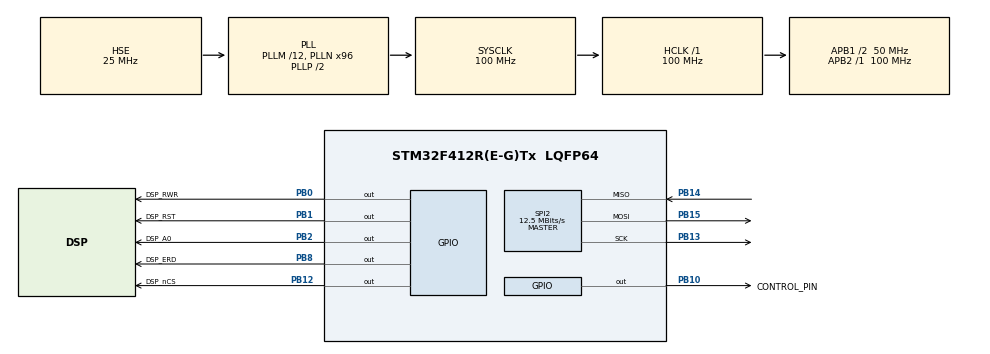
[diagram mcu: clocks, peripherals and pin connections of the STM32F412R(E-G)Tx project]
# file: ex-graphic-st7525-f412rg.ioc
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Mcu.Family=STM32F4
Mcu.Name=STM32F412R(E-G)Tx
Mcu.Package=LQFP64
NVIC.PriorityGroup=NVIC_PRIORITYGROUP_4
PA13.Mode=Serial_Wire
PA13.Signal=SYS_JTMS-SWDIO
PA14.Mode=Serial_Wire
PA14.Signal=SYS_JTCK-SWCLK
PB0.GPIO_Label=DSP_RWR
PB0.PinState=GPIO_PIN_SET
PB0.Signal=GPIO_Output
PB1.GPIO_Label=DSP_RST
PB1.GPIO_Speed=GPIO_SPEED_FREQ_VERY_HIGH
PB1.PinState=GPIO_PIN_RESET
PB1.Signal=GPIO_Output
PB10.GPIO_Label=CONTROL_PIN
PB10.PinState=GPIO_PIN_SET
PB10.Signal=GPIO_Output
PB12.GPIO_Label=DSP_nCS
PB12.GPIO_Speed=GPIO_SPEED_FREQ_VERY_HIGH
PB12.PinState=GPIO_PIN_SET
PB12.Signal=GPIO_Output
PB13.Mode=Full_Duplex_Master
PB13.Signal=SPI2_SCK
PB14.Mode=Full_Duplex_Master
PB14.Signal=SPI2_MISO
PB15.Mode=Full_Duplex_Master
PB15.Signal=SPI2_MOSI
PB2.GPIO_Label=DSP_A0
PB2.GPIO_Speed=GPIO_SPEED_FREQ_VERY_HIGH
PB2.PinState=GPIO_PIN_SET
PB2.Signal=GPIO_Output
PB8.GPIO_Label=DSP_ERD
PB8.PinState=GPIO_PIN_SET
PB8.Signal=GPIO_Output
PH0\ -\ OSC_IN.Mode=HSE-External-Oscillator
PH0\ -\ OSC_IN.Signal=RCC_OSC_IN
PH1\ -\ OSC_OUT.Mode=HSE-External-Oscillator
PH1\ -\ OSC_OUT.Signal=RCC_OSC_OUT
ProjectManager.HeapSize=0x200
ProjectManager.StackSize=0x400
ProjectManager.TargetToolchain=STM32CubeIDE
RCC.AHBFreq_Value=100000000
RCC.APB1CLKDivider=RCC_HCLK_DIV2
RCC.APB1Freq_Value=50000000
RCC.APB1TimFreq_Value=100000000
RCC.APB2Freq_Value=100000000
RCC.APB2TimFreq_Value=100000000
RCC.CortexFreq_Value=100000000
RCC.HCLKFreq_Value=100000000
RCC.PLLM=12
RCC.PLLN=96
RCC.PLLSourceVirtual=RCC_PLLSOURCE_HSE
RCC.SYSCLKFreq_VALUE=100000000
RCC.SYSCLKSource=RCC_SYSCLKSOURCE_PLLCLK
RCC.USBFreq_Value=100000000
RCC.VCOOutputFreq_Value=200000000
SPI2.BaudRatePrescaler=SPI_BAUDRATEPRESCALER_4
SPI2.CLKPhase=SPI_PHASE_2EDGE
SPI2.CLKPolarity=SPI_POLARITY_HIGH
SPI2.CalculateBaudRate=12.5 MBits/s
SPI2.Direction=SPI_DIRECTION_2LINES
SPI2.Mode=SPI_MODE_MASTER
SPI2.VirtualType=VM_MASTER
board=custom

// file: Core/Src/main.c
/* USER CODE BEGIN Header */
/**
  ******************************************************************************
  * @file           : main.c
  * @brief          : Main program body
  ******************************************************************************
  * @attention
  *
  * Copyright (c) 2024 STMicroelectronics.
  * All rights reserved.
  *
  * This software is licensed under terms that can be found in the LICENSE file
  * in the root directory of this software component.
  * If no LICENSE file comes with this software, it is provided AS-IS.
  *
  ******************************************************************************
  */
/* USER CODE END Header */
#include "main.h"
#include "spi.h"
#include "gpio.h"

/* USER CODE BEGIN Includes */
#include <stdbool.h>
#include <stddef.h>

#include "GraphicDisplay.h"
#include "GraphicDisplay_Fonts.h"
#include "drivers/st7525/st7525.h"
/* USER CODE END Includes */

/* USER CODE BEGIN PV */
st7525_t St7525 = {0};
gd_t Graphic = {0};

#define cobra_width 	 64
#define cobra_height 	 64
const unsigned char cobra_bmp [] ={
		0x00,0x00,0x00,0xb4,0x00,0x00,0x00,0x00,0x00,0x00,0x00,0xef,0x03,0x00,0x00,0x00,
		0x00,0x00,0xc0,0x00,0x06,0x00,0x00,0x00,0x00,0x00,0x60,0x00,0x18,0x00,0x00,0x00,
		0x00,0x00,0x30,0x0e,0x30,0x00,0x00,0x00,0x00,0x00,0x98,0x1b,0x70,0x00,0x00,0x00,
		0x00,0x00,0x88,0x30,0xd0,0x00,0x00,0x00,0x00,0x00,0x84,0x68,0x90,0x01,0x00,0x00,
		0x00,0x00,0xc6,0xdc,0x30,0x03,0x00,0x00,0x00,0x00,0x82,0x87,0x21,0x06,0x00,0x00,
		0x00,0x00,0x02,0x03,0xc3,0x0c,0x00,0x00,0x00,0x00,0x03,0x01,0x86,0x3f,0x00,0x00,
		0x00,0x00,0x81,0x01,0x0c,0xe0,0x00,0x00,0x00,0x00,0x81,0x00,0x18,0x80,0x03,0x00,
		0x00,0x00,0x83,0x00,0x70,0x00,0x06,0x00,0x00,0x00,0x8f,0x00,0x40,0x00,0x04,0x00,
		0x00,0x00,0x99,0x00,0xc0,0x01,0x0c,0x00,0x00,0x00,0x91,0x00,0x00,0x03,0x04,0x00,
		0x00,0x00,0xb1,0x01,0x00,0x06,0x04,0x00,0x00,0x00,0x93,0x00,0x00,0x0c,0x0c,0x00,
		0x00,0x00,0x11,0x01,0x00,0x08,0x04,0x00,0x00,0x00,0x1a,0x03,0x00,0x18,0x08,0x00,
		0x00,0x00,0x0e,0x06,0x00,0x10,0x08,0x00,0x00,0x00,0x06,0x06,0x00,0x30,0x08,0x00,
		0x00,0x00,0x04,0x1b,0x00,0x60,0x0c,0x00,0x00,0x00,0x0c,0x32,0x00,0xc0,0x07,0x00,
		0x00,0x00,0x18,0x63,0x00,0x80,0x04,0x00,0x00,0x00,0x30,0xc6,0x00,0x00,0x0c,0x00,
		0x00,0x00,0x60,0xcc,0x01,0x00,0x08,0x00,0x00,0x00,0xc0,0x78,0x03,0x00,0x38,0x00,
		0x00,0x00,0x80,0x01,0x06,0x00,0x68,0x00,0x00,0x00,0x00,0x03,0x1c,0x00,0x0c,0x00,
		0x00,0x00,0x20,0x06,0x18,0x00,0x00,0x00,0x00,0x00,0xfe,0xff,0xff,0x7f,0x00,0x00,
		0x00,0x00,0x03,0x20,0x08,0xc0,0x00,0x00,0x00,0x00,0x01,0x60,0x0c,0x80,0x00,0x00,
		0x00,0x80,0x01,0xc0,0x07,0x80,0x01,0x00,0x00,0x80,0x00,0x80,0x02,0x00,0x01,0x00,
		0x00,0x00,0x01,0x00,0x00,0x80,0x00,0x00,0x00,0x00,0x03,0x00,0x00,0xc0,0x00,0x00,
		0x00,0xe0,0xff,0xff,0xff,0xff,0x07,0x00,0x00,0x38,0x49,0xb2,0x2c,0x49,0x1a,0x00,
		0x00,0x08,0x00,0x60,0x08,0x00,0x10,0x00,0x00,0x0c,0x00,0x40,0x0e,0x00,0x30,0x00,
		0x00,0x04,0xf0,0xc0,0x03,0x1e,0x20,0x00,0x00,0x08,0x98,0x01,0x00,0x33,0x30,0x00,
		0x00,0x08,0x0c,0x01,0x00,0x61,0x10,0x00,0x00,0xba,0x4c,0x2b,0xd5,0x65,0x5e,0x00,
		0x80,0xff,0xff,0xff,0xff,0xff,0xff,0x01,0xc0,0x00,0x00,0x20,0x08,0x00,0x00,0x03,
		0x40,0x00,0x00,0x60,0x0c,0x00,0x00,0x02,0x60,0x00,0x14,0xc0,0x07,0x50,0x00,0x06,
		0x20,0x00,0x3e,0x00,0x01,0xf8,0x00,0x04,0x40,0x00,0x63,0x00,0x00,0x8c,0x01,0x02,
		0xc0,0x00,0x41,0x00,0x00,0x04,0x01,0x03,0xf8,0xff,0xff,0xff,0xff,0xff,0xff,0x1f,
		0x0e,0x82,0x20,0x28,0x89,0x20,0x08,0x72,0x02,0x00,0x00,0x60,0x0c,0x00,0x00,0x40,
		0x03,0x40,0x00,0x40,0x06,0x00,0x02,0xc0,0x02,0xf0,0x01,0xc0,0x03,0x80,0x0f,0x80,
		0x03,0x18,0x03,0x00,0x00,0xc0,0x18,0x40,0x02,0x08,0x02,0x00,0x00,0x40,0x10,0x60,
		0xae,0x5a,0x57,0x55,0xb5,0xea,0x5e,0x35,0xf8,0xff,0xff,0xff,0xff,0xff,0xff,0x1f};
/* USER CODE END PV */

void SystemClock_Config(void);

/* USER CODE BEGIN 0 */

/* Specific MCU functions to work with ST7525 */

void _dsp_a0(uint8_t s){
	HAL_GPIO_WritePin(DSP_A0_GPIO_Port, DSP_A0_Pin, s);
}

void _dsp_cs(uint8_t s){
	HAL_GPIO_WritePin(DSP_nCS_GPIO_Port, DSP_nCS_Pin, s);
}

void _dsp_reset(uint8_t s){
	HAL_GPIO_WritePin(DSP_RST_GPIO_Port, DSP_RST_Pin, s);
}

uint8_t _dsp_write(uint8_t *data, uint32_t len){
	HAL_StatusTypeDef e;

	e = HAL_SPI_Transmit(&hspi2, data, len, 100);

	return (uint8_t)e;
}

/* USER CODE END 0 */

int main(void)
{

  /* USER CODE BEGIN 1 */
	st7525_params_t St7525_Params = {
			.Mode = ST7525_MODE_SPI,
			.eFrameRate = ST7525_FR_76fps,
			.bUseExternalFrameBuffer = false,
			.bInvertY = true,
			.bInvertX = false,
			.u32Heigth = 64,
			.u32Width = 192,
			.u32Offset = 0,
			.delayMs = HAL_Delay,
			.spiA0 = _dsp_a0,
			.spiCS = _dsp_cs,
			.spiReset = _dsp_reset,
			.spiWrite = _dsp_write
	};

	gd_params_t Graphic_Params = {
			.DisplayDriver = Gd_Driver_ST7525,
			.DisplayHandle = (void*)(&St7525),
			.u32Height = 64,
			.u32Width = 192
	};
  /* USER CODE END 1 */

  /* MCU Configuration--------------------------------------------------------*/

  /* Reset of all peripherals, Initializes the Flash interface and the Systick. */
  HAL_Init();

  /* Configure the system clock */
  SystemClock_Config();

  /* Initialize all configured peripherals */
  MX_GPIO_Init();
  MX_SPI2_Init();
  /* USER CODE BEGIN 2 */
	ST7525_Init(&St7525, &St7525_Params);

	GD_Init(&Graphic, &Graphic_Params);

	GD_DrawBitmap(&Graphic, 0, 0, cobra_bmp, cobra_width, cobra_height, GD_WHITE);

	GD_SetCursor(&Graphic, 105, 5);
	GD_WriteString(&Graphic, "ST7525", Font_11x18, GD_WHITE);

	GD_DrawCircle(&Graphic, 100, 30, 7, GD_WHITE);
	GD_FillCircle(&Graphic, 100, 30, 5, GD_WHITE);

	GD_DrawCircle(&Graphic, 160, 30, 7, GD_WHITE);
	GD_FillCircle(&Graphic, 160, 30, 5, GD_WHITE);

	GD_DrawRectangle(&Graphic, 78, 43, 182, 62, GD_WHITE);
	GD_FillRectangle(&Graphic, 80, 45, 180, 60, GD_WHITE);

	GD_UpdateScreen(&Graphic);

	HAL_Delay(1000);
  /* USER CODE END 2 */

  /* Infinite loop */
  while (1)
  {

  }
}

void SystemClock_Config(void)
{
  RCC_OscInitTypeDef RCC_OscInitStruct = {0};
  RCC_ClkInitTypeDef RCC_ClkInitStruct = {0};

  /** Configure the main internal regulator output voltage
  */
  __HAL_RCC_PWR_CLK_ENABLE();
  __HAL_PWR_VOLTAGESCALING_CONFIG(PWR_REGULATOR_VOLTAGE_SCALE1);

  /** Initializes the RCC Oscillators according to the specified parameters
  * in the RCC_OscInitTypeDef structure.
  */
  RCC_OscInitStruct.OscillatorType = RCC_OSCILLATORTYPE_HSE;
  RCC_OscInitStruct.HSEState = RCC_HSE_ON;
  RCC_OscInitStruct.PLL.PLLState = RCC_PLL_ON;
  RCC_OscInitStruct.PLL.PLLSource = RCC_PLLSOURCE_HSE;
  RCC_OscInitStruct.PLL.PLLM = 12;
  RCC_OscInitStruct.PLL.PLLN = 96;
  RCC_OscInitStruct.PLL.PLLP = RCC_PLLP_DIV2;
  RCC_OscInitStruct.PLL.PLLQ = 2;
  RCC_OscInitStruct.PLL.PLLR = 2;
  if (HAL_RCC_OscConfig(&RCC_OscInitStruct) != HAL_OK)
  {
    Error_Handler();
  }

  /** Initializes the CPU, AHB and APB buses clocks
  */
  RCC_ClkInitStruct.ClockType = RCC_CLOCKTYPE_HCLK|RCC_CLOCKTYPE_SYSCLK
                              |RCC_CLOCKTYPE_PCLK1|RCC_CLOCKTYPE_PCLK2;
  RCC_ClkInitStruct.SYSCLKSource = RCC_SYSCLKSOURCE_PLLCLK;
  RCC_ClkInitStruct.AHBCLKDivider = RCC_SYSCLK_DIV1;
  RCC_ClkInitStruct.APB1CLKDivider = RCC_HCLK_DIV2;
  RCC_ClkInitStruct.APB2CLKDivider = RCC_HCLK_DIV1;

  if (HAL_RCC_ClockConfig(&RCC_ClkInitStruct, FLASH_LATENCY_3) != HAL_OK)
  {
    Error_Handler();
  }
}

void Error_Handler(void)
{
  __disable_irq();
  while (1)
  {
  }
}
